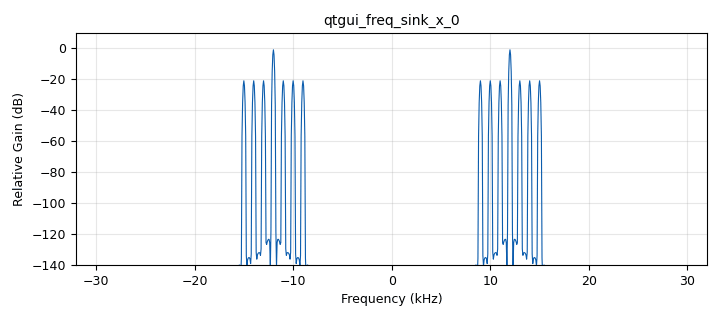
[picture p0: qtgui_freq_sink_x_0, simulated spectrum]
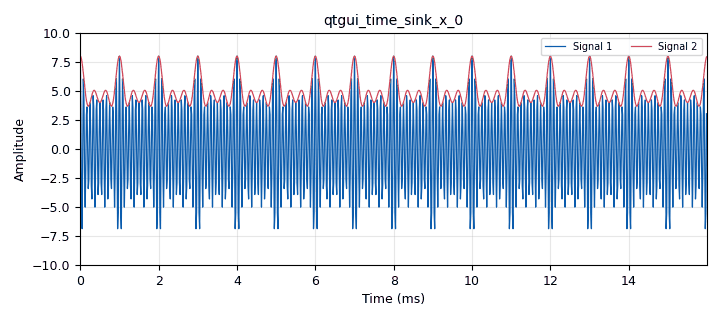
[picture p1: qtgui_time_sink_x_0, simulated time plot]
options:
  parameters:
    generate_options: qt_gui
    id: mul_am
    output_language: python
    title: Not titled yet
  states: {}

blocks:
- name: samp_rate
  id: variable
  parameters:
    value: '64000'
  states: {}
- name: analog_sig_source_x_0
  id: analog_sig_source_x
  parameters:
    amp: '1'
    freq: '1000'
    offset: '0'
    phase: '0'
    samp_rate: samp_rate
    type: float
    waveform: analog.GR_COS_WAVE
  states: {}
- name: analog_sig_source_x_0_0
  id: analog_sig_source_x
  parameters:
    amp: '1'
    freq: '12000'
    offset: '0'
    phase: '0'
    samp_rate: samp_rate
    type: float
    waveform: analog.GR_COS_WAVE
  states: {}
- name: analog_sig_source_x_0_1
  id: analog_sig_source_x
  parameters:
    amp: '1'
    freq: '3000'
    offset: '0'
    phase: '0'
    samp_rate: samp_rate
    type: float
    waveform: analog.GR_COS_WAVE
  states: {}
- name: analog_sig_source_x_0_1_0
  id: analog_sig_source_x
  parameters:
    amp: '1'
    freq: '2000'
    offset: '0'
    phase: '0'
    samp_rate: samp_rate
    type: float
    waveform: analog.GR_COS_WAVE
  states: {}
- name: blocks_add_const_vxx_0
  id: blocks_add_const_vxx
  parameters:
    const: '5'
    type: float
  states: {}
- name: blocks_add_xx_0
  id: blocks_add_xx
  parameters:
    num_inputs: '3'
    type: float
  states: {}
- name: blocks_multiply_xx_0
  id: blocks_multiply_xx
  parameters:
    type: float
  states: {}
- name: qtgui_freq_sink_x_0
  id: qtgui_freq_sink_x
  parameters:
    average: '0.2'
    bw: samp_rate
    fc: '0'
    fftsize: '1024'
    type: float
    wintype: firdes.WIN_BLACKMAN_hARRIS
  states: {}
- name: qtgui_time_sink_x_0
  id: qtgui_time_sink_x
  parameters:
    nconnections: '2'
    size: '1024'
    srate: samp_rate
    type: float
    ymax: '10'
    ymin: '-10'
  states: {}

connections:
- [analog_sig_source_x_0, '0', blocks_add_xx_0, '0']
- [analog_sig_source_x_0_0, '0', blocks_multiply_xx_0, '1']
- [analog_sig_source_x_0_1, '0', blocks_add_xx_0, '2']
- [analog_sig_source_x_0_1_0, '0', blocks_add_xx_0, '1']
- [blocks_add_const_vxx_0, '0', blocks_multiply_xx_0, '0']
- [blocks_add_const_vxx_0, '0', qtgui_time_sink_x_0, '1']
- [blocks_add_xx_0, '0', blocks_add_const_vxx_0, '0']
- [blocks_multiply_xx_0, '0', qtgui_freq_sink_x_0, '0']
- [blocks_multiply_xx_0, '0', qtgui_time_sink_x_0, '0']

metadata:
  file_format: 1
